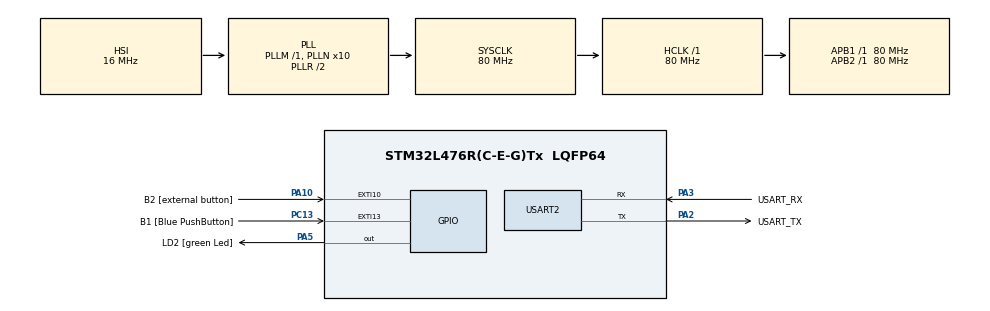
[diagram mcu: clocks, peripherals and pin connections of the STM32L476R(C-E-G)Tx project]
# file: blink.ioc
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Mcu.Family=STM32L4
Mcu.Name=STM32L476R(C-E-G)Tx
Mcu.Package=LQFP64
NVIC.EXTI15_10_IRQn=true\:0\:0\:false\:false\:true\:true\:true
NVIC.PriorityGroup=NVIC_PRIORITYGROUP_4
PA10.GPIO_Label=B2 [external button]
PA10.GPIO_ModeDefaultEXTI=GPIO_MODE_IT_FALLING
PA10.GPIO_PuPd=GPIO_PULLUP
PA10.Signal=GPXTI10
PA13\ (JTMS-SWDIO).GPIO_Label=TMS
PA13\ (JTMS-SWDIO).Mode=Serial_Wire
PA13\ (JTMS-SWDIO).Signal=SYS_JTMS-SWDIO
PA14\ (JTCK-SWCLK).GPIO_Label=TCK
PA14\ (JTCK-SWCLK).Mode=Serial_Wire
PA14\ (JTCK-SWCLK).Signal=SYS_JTCK-SWCLK
PA2.GPIO_Label=USART_TX
PA2.GPIO_Mode=GPIO_MODE_AF_PP
PA2.GPIO_PuPd=GPIO_NOPULL
PA2.GPIO_Speed=GPIO_SPEED_FREQ_VERY_HIGH
PA2.Mode=Asynchronous
PA2.Signal=USART2_TX
PA3.GPIO_Label=USART_RX
PA3.GPIO_Mode=GPIO_MODE_AF_PP
PA3.GPIO_PuPd=GPIO_NOPULL
PA3.GPIO_Speed=GPIO_SPEED_FREQ_VERY_HIGH
PA3.Mode=Asynchronous
PA3.Signal=USART2_RX
PA5.GPIO_Label=LD2 [green Led]
PA5.GPIO_ModeDefaultOutputPP=GPIO_MODE_OUTPUT_PP
PA5.GPIO_PuPd=GPIO_NOPULL
PA5.GPIO_Speed=GPIO_SPEED_FREQ_LOW
PA5.Signal=GPIO_Output
PB3\ (JTDO-TRACESWO).GPIO_Label=SWO
PB3\ (JTDO-TRACESWO).Signal=SYS_JTDO-SWO
PC13.GPIO_Label=B1 [Blue PushButton]
PC13.GPIO_ModeDefaultEXTI=GPIO_MODE_IT_FALLING
PC13.GPIO_PuPd=GPIO_NOPULL
PC13.Signal=GPXTI13
PC14-OSC32_IN\ (PC14).Mode=LSE-External-Oscillator
PC14-OSC32_IN\ (PC14).Signal=RCC_OSC32_IN
PC15-OSC32_OUT\ (PC15).Mode=LSE-External-Oscillator
PC15-OSC32_OUT\ (PC15).Signal=RCC_OSC32_OUT
PH0-OSC_IN\ (PH0).Signal=RCC_OSC_IN
PH1-OSC_OUT\ (PH1).Signal=RCC_OSC_OUT
ProjectManager.HeapSize=0x200
ProjectManager.StackSize=0x400
ProjectManager.TargetToolchain=STM32CubeIDE
RCC.ADCFreq_Value=64000000
RCC.AHBFreq_Value=80000000
RCC.APB1Freq_Value=80000000
RCC.APB1TimFreq_Value=80000000
RCC.APB2Freq_Value=80000000
RCC.APB2TimFreq_Value=80000000
RCC.CortexFreq_Value=80000000
RCC.HCLKFreq_Value=80000000
RCC.HSE_VALUE=8000000
RCC.HSI_VALUE=16000000
RCC.MSI_VALUE=4000000
RCC.PLLN=10
RCC.PLLSourceVirtual=RCC_PLLSOURCE_HSI
RCC.PREFETCH_ENABLE=1
RCC.SYSCLKFreq_VALUE=80000000
RCC.SYSCLKSource=RCC_SYSCLKSOURCE_PLLCLK
RCC.USBFreq_Value=64000000
RCC.VCOOutputFreq_Value=160000000
USART2.VirtualMode-Asynchronous=VM_ASYNC
board=NUCLEO-L476RG

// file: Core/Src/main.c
/* USER CODE BEGIN Header */
/**
  ******************************************************************************
  * @file           : main.c
  * @brief          : If defined BLINK, LD2 is blinking, else it is toggled
  * 				  by pressing B1 or pulling D2 pin (PA10) to ground.
  * 				  There is software debouncing on pin D2, but not where B1
  * 				  is connected, because there is hardware debouncing
  * 				  (RC circuit) on the NUCLEO board.
  ******************************************************************************
  * @attention
  *
  * <h2><center>&copy; Copyright (c) 2024 STMicroelectronics.
  * All rights reserved.</center></h2>
  *
  * This software component is licensed by ST under BSD 3-Clause license,
  * the "License"; You may not use this file except in compliance with the
  * License. You may obtain a copy of the License at:
  *                        opensource.org/licenses/BSD-3-Clause
  *
  ******************************************************************************
  */
/* USER CODE END Header */
#include "main.h"
#include "usart.h"
#include "gpio.h"

/* USER CODE BEGIN PD */
//#define BLINK
/* USER CODE END PD */

void SystemClock_Config(void);

int main(void)
{

  /* MCU Configuration--------------------------------------------------------*/

  /* Reset of all peripherals, Initializes the Flash interface and the Systick. */
  HAL_Init();

  /* Configure the system clock */
  SystemClock_Config();

  /* Initialize all configured peripherals */
  MX_GPIO_Init();
  MX_USART2_UART_Init();

  /* Infinite loop */
  /* USER CODE BEGIN WHILE */
  while (1)
  {
#ifdef BLINK
	  HAL_GPIO_TogglePin(LD2_GPIO_Port, LD2_Pin);
	  HAL_Delay(100);
#endif
    /* USER CODE END WHILE */

  }
}

void SystemClock_Config(void)
{
  RCC_OscInitTypeDef RCC_OscInitStruct = {0};
  RCC_ClkInitTypeDef RCC_ClkInitStruct = {0};
  RCC_PeriphCLKInitTypeDef PeriphClkInit = {0};

  /** Initializes the RCC Oscillators according to the specified parameters
  * in the RCC_OscInitTypeDef structure.
  */
  RCC_OscInitStruct.OscillatorType = RCC_OSCILLATORTYPE_HSI;
  RCC_OscInitStruct.HSIState = RCC_HSI_ON;
  RCC_OscInitStruct.HSICalibrationValue = RCC_HSICALIBRATION_DEFAULT;
  RCC_OscInitStruct.PLL.PLLState = RCC_PLL_ON;
  RCC_OscInitStruct.PLL.PLLSource = RCC_PLLSOURCE_HSI;
  RCC_OscInitStruct.PLL.PLLM = 1;
  RCC_OscInitStruct.PLL.PLLN = 10;
  RCC_OscInitStruct.PLL.PLLP = RCC_PLLP_DIV7;
  RCC_OscInitStruct.PLL.PLLQ = RCC_PLLQ_DIV2;
  RCC_OscInitStruct.PLL.PLLR = RCC_PLLR_DIV2;
  if (HAL_RCC_OscConfig(&RCC_OscInitStruct) != HAL_OK)
  {
    Error_Handler();
  }
  /** Initializes the CPU, AHB and APB buses clocks
  */
  RCC_ClkInitStruct.ClockType = RCC_CLOCKTYPE_HCLK|RCC_CLOCKTYPE_SYSCLK
                              |RCC_CLOCKTYPE_PCLK1|RCC_CLOCKTYPE_PCLK2;
  RCC_ClkInitStruct.SYSCLKSource = RCC_SYSCLKSOURCE_PLLCLK;
  RCC_ClkInitStruct.AHBCLKDivider = RCC_SYSCLK_DIV1;
  RCC_ClkInitStruct.APB1CLKDivider = RCC_HCLK_DIV1;
  RCC_ClkInitStruct.APB2CLKDivider = RCC_HCLK_DIV1;

  if (HAL_RCC_ClockConfig(&RCC_ClkInitStruct, FLASH_LATENCY_4) != HAL_OK)
  {
    Error_Handler();
  }
  PeriphClkInit.PeriphClockSelection = RCC_PERIPHCLK_USART2;
  PeriphClkInit.Usart2ClockSelection = RCC_USART2CLKSOURCE_PCLK1;
  if (HAL_RCCEx_PeriphCLKConfig(&PeriphClkInit) != HAL_OK)
  {
    Error_Handler();
  }
  /** Configure the main internal regulator output voltage
  */
  if (HAL_PWREx_ControlVoltageScaling(PWR_REGULATOR_VOLTAGE_SCALE1) != HAL_OK)
  {
    Error_Handler();
  }
}

/* USER CODE BEGIN 4 */
void HAL_GPIO_EXTI_Callback(uint16_t GPIO_Pin){
#ifndef BLINK
	if(GPIO_Pin == B1_Pin){ // onboard button pressed
		HAL_GPIO_TogglePin(LD2_GPIO_Port, LD2_Pin);
	}
	if(GPIO_Pin == B2_Pin){ // external button on D2 (PA10) pressed
		static unsigned long lastInterruptTimeButton = 0;
		unsigned long interruptTime = HAL_GetTick();

		if(interruptTime - lastInterruptTimeButton > 300)
			HAL_GPIO_TogglePin(LD2_GPIO_Port, LD2_Pin);

		lastInterruptTimeButton = interruptTime;

	}
#endif
}

/* USER CODE END 4 */

void Error_Handler(void)
{
}

/************************ (C) COPYRIGHT STMicroelectronics *****END OF FILE****/
